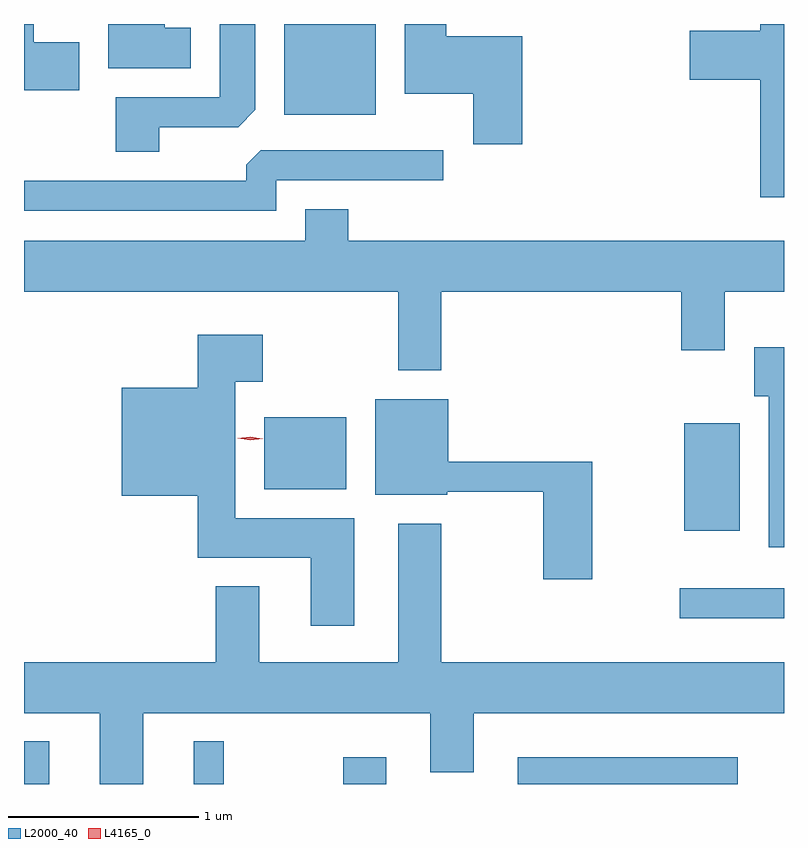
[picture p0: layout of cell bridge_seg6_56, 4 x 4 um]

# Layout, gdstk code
import gdstk
lib = gdstk.Library(unit=1e-6, precision=1e-09)
def R(c, l, rs):  # rectangles x0, y0, x1, y1
    for r in rs: c.add(gdstk.rectangle(r[:2], r[2:], *l))
def P(c, l, *ps):  # polygons
    for p in ps: c.add(gdstk.Polygon(p, *l))
L2000_40 = (2000, 40)
L4165_0 = (4165, 0)

bridge_seg6_56 = lib.new_cell('bridge_seg6_56')
R(bridge_seg6_56, L2000_40, [(1621.862,1589.624,1621.994,1589.848), (1622.756,1589.624,1622.914,1589.848), (1623.541,1589.624,1623.769,1589.764), (1624.461,1589.624,1625.618,1589.764), (1625.313,1590.496,1625.862,1590.654), (1625.336,1590.956,1625.629,1591.524), (1623.126,1591.176,1623.559,1591.554), (1623.231,1593.146,1623.714,1593.624)])
P(bridge_seg6_56, L2000_40, [(1625.862,1593.624),(1625.736,1593.624),(1625.736,1593.589),(1625.366,1593.589),(1625.366,1593.331),(1625.736,1593.331),(1625.736,1592.711),(1625.862,1592.711)],
  [(1624.484,1593.559),(1624.084,1593.559),(1624.084,1593.624),(1623.866,1593.624),(1623.866,1593.256),(1624.226,1593.256),(1624.226,1592.991),(1624.484,1592.991)],
  [(1622.739,1593.604),(1622.604,1593.604),(1622.604,1593.624),(1622.306,1593.624),(1622.306,1593.391),(1622.739,1593.391)],
  [(1622.154,1593.529),(1621.914,1593.529),(1621.914,1593.624),(1621.862,1593.624),(1621.862,1593.276),(1622.154,1593.276)],
  [(1622.574,1593.081),(1622.989,1593.081),(1623.079,1593.172),(1623.079,1593.624),(1622.891,1593.624),(1622.891,1593.239),(1622.346,1593.239),(1622.346,1592.951),(1622.574,1592.951)],
  [(1623.189,1592.801),(1624.068,1592.801),(1624.068,1592.959),(1623.107,1592.959),(1623.031,1592.884),(1623.031,1592.799),(1621.862,1592.799),(1621.862,1592.641),(1623.189,1592.641)],
  [(1624.059,1592.216),(1625.321,1592.216),(1625.321,1591.906),(1625.549,1591.906),(1625.549,1592.216),(1625.862,1592.216),(1625.862,1592.484),(1623.569,1592.484),(1623.569,1592.649),(1623.341,1592.649),(1623.341,1592.484),(1621.862,1592.484),(1621.862,1592.216),(1623.831,1592.216),(1623.831,1591.801),(1624.059,1591.801)],
  [(1623.599,1591.024),(1622.974,1591.024),(1622.974,1591.741),(1623.119,1591.741),(1623.119,1591.989),(1622.776,1591.989),(1622.776,1591.709),(1622.376,1591.709),(1622.376,1591.141),(1622.776,1591.141),(1622.776,1590.816),(1623.371,1590.816),(1623.371,1590.456),(1623.599,1590.456)],
  [(1625.862,1591.924),(1625.706,1591.924),(1625.706,1591.666),(1625.781,1591.666),(1625.781,1590.871),(1625.862,1590.871)],
  [(1624.854,1591.319),(1624.094,1591.319),(1624.094,1591.649),(1623.711,1591.649),(1623.711,1591.146),(1624.09,1591.146),(1624.09,1591.161),(1624.596,1591.161),(1624.596,1590.701),(1624.854,1590.701)],
  [(1622.489,1589.996),(1624.001,1589.996),(1624.001,1589.686),(1624.229,1589.686),(1624.229,1589.996),(1625.862,1589.996),(1625.862,1590.264),(1624.059,1590.264),(1624.059,1590.994),(1623.831,1590.994),(1623.831,1590.264),(1623.099,1590.264),(1623.099,1590.664),(1622.871,1590.664),(1622.871,1590.264),(1621.862,1590.264),(1621.862,1589.996),(1622.261,1589.996),(1622.261,1589.624),(1622.489,1589.624)])
P(bridge_seg6_56, L4165_0, [(1623.052,1591.432),(1622.986,1591.443),(1622.986,1591.443),(1622.986,1591.444),(1623.053,1591.452),(1623.119,1591.442),(1623.119,1591.441),(1623.119,1591.44)])

lib.write_gds('bridge_seg6_56.gds')
